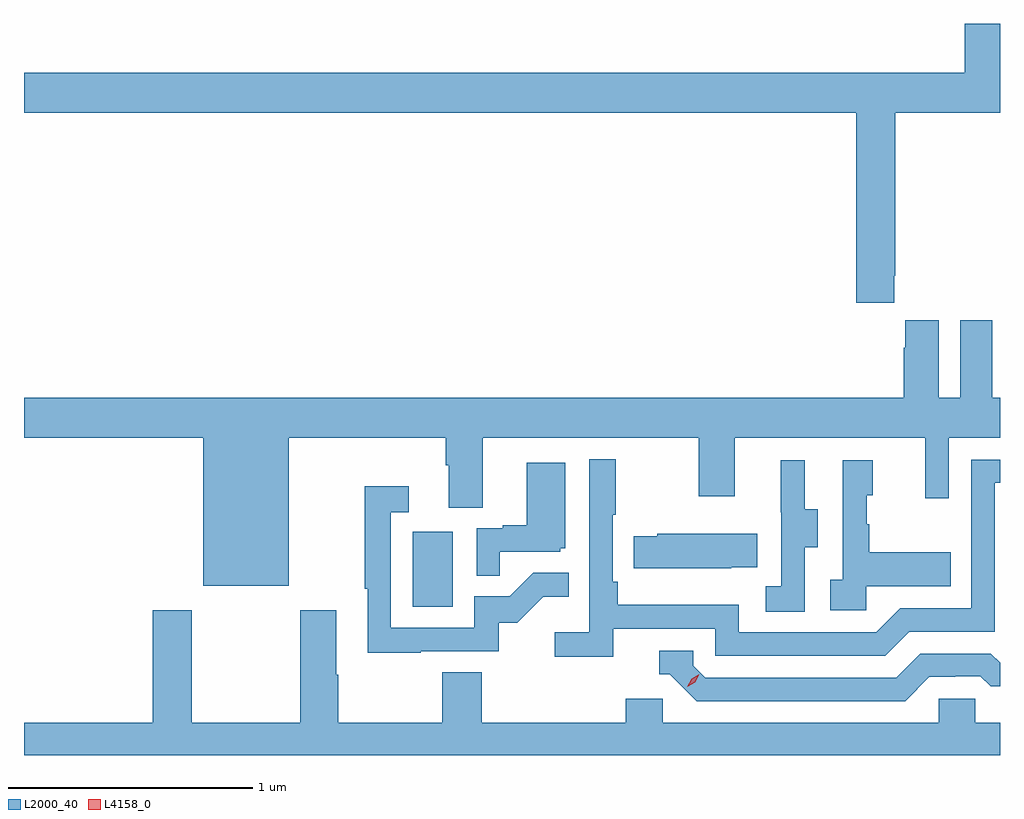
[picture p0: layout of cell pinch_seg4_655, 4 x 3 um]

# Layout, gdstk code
import gdstk
lib = gdstk.Library(unit=1e-6, precision=1e-09)
def R(c, l, rs):  # rectangles x0, y0, x1, y1
    for r in rs: c.add(gdstk.rectangle(r[:2], r[2:], *l))
def P(c, l, *ps):  # polygons
    for p in ps: c.add(gdstk.Polygon(p, *l))
L2000_40 = (2000, 40)
L4158_0 = (4158, 0)

pinch_seg4_655 = lib.new_cell('pinch_seg4_655')
R(pinch_seg4_655, L2000_40, [(1022.24,749.508,1022.404,749.815)])
P(pinch_seg4_655, L2000_40, [(1020.647,751.532),(1024.058,751.532),(1024.058,750.753),(1024.213,750.753),(1024.213,750.865),(1024.218,750.865),(1024.218,751.532),(1024.647,751.532),(1024.647,751.896),(1024.502,751.896),(1024.502,751.696),(1020.647,751.696)],
  [(1021.732,750.2),(1022.375,750.2),(1022.375,750.088),(1022.387,750.088),(1022.387,749.914),(1022.527,749.914),(1022.527,750.2),(1023.412,750.2),(1023.412,749.961),(1023.559,749.961),(1023.559,750.2),(1024.34,750.2),(1024.34,749.952),(1024.437,749.952),(1024.437,750.2),(1024.647,750.2),(1024.647,750.364),(1024.615,750.364),(1024.615,750.682),(1024.484,750.682),(1024.484,750.364),(1024.396,750.364),(1024.396,750.682),(1024.259,750.682),(1024.259,750.569),(1024.253,750.569),(1024.253,750.364),(1020.647,750.364),(1020.647,750.2),(1021.382,750.2),(1021.382,749.594),(1021.732,749.594)],
  [(1023.062,749.418),(1023.48,749.418),(1023.48,749.307),(1024.177,749.307),(1024.276,749.406),(1024.626,749.406),(1024.626,750.015),(1024.647,750.015),(1024.647,750.111),(1024.53,750.111),(1024.53,749.502),(1024.239,749.502),(1024.14,749.403),(1023.576,749.403),(1023.576,749.515),(1023.08,749.515),(1023.08,749.611),(1023.06,749.611),(1023.06,749.884),(1023.073,749.884),(1023.073,750.112),(1022.964,750.112),(1022.964,749.404),(1022.823,749.404),(1022.823,749.302),(1023.062,749.302)],
  [(1024.098,749.591),(1024.445,749.591),(1024.445,749.731),(1024.111,749.731),(1024.111,749.846),(1024.101,749.846),(1024.101,749.964),(1024.126,749.964),(1024.126,750.109),(1024.002,750.109),(1024.002,749.618),(1023.951,749.618),(1023.951,749.493),(1024.098,749.493)],
  [(1023.846,749.752),(1023.901,749.752),(1023.901,749.907),(1023.847,749.907),(1023.847,750.109),(1023.749,750.109),(1023.749,749.895),(1023.75,749.895),(1023.75,749.591),(1023.687,749.591),(1023.687,749.488),(1023.846,749.488)],
  [(1022.597,749.733),(1022.844,749.733),(1022.844,749.748),(1022.866,749.748),(1022.866,750.097),(1022.708,750.097),(1022.708,749.842),(1022.609,749.842),(1022.609,749.829),(1022.502,749.829),(1022.502,749.635),(1022.597,749.635)],
  [(1022.273,749.325),(1022.592,749.325),(1022.592,749.442),(1022.668,749.442),(1022.775,749.549),(1022.879,749.549),(1022.879,749.648),(1022.735,749.648),(1022.637,749.55),(1022.493,749.55),(1022.493,749.421),(1022.151,749.421),(1022.151,749.895),(1022.224,749.895),(1022.224,750.001),(1022.043,750.001),(1022.043,749.581),(1022.055,749.581),(1022.055,749.32),(1022.273,749.32)],
  [(1023.545,749.669),(1023.653,749.669),(1023.653,749.806),(1023.243,749.806),(1023.243,749.796),(1023.145,749.796),(1023.145,749.666),(1023.545,749.666)],
  [(1024.647,749.032),(1024.545,749.032),(1024.545,749.13),(1024.395,749.13),(1024.395,749.032),(1023.264,749.032),(1023.264,749.13),(1023.113,749.13),(1023.113,749.032),(1022.522,749.032),(1022.522,749.24),(1022.362,749.24),(1022.362,749.032),(1021.935,749.032),(1021.935,749.228),(1021.927,749.228),(1021.927,749.494),(1021.78,749.494),(1021.78,749.032),(1021.335,749.032),(1021.335,749.494),(1021.175,749.494),(1021.175,749.032),(1020.647,749.032),(1020.647,748.9),(1024.647,748.9)],
  [(1024.357,749.22),(1024.464,749.22),(1024.464,749.223),(1024.567,749.223),(1024.609,749.181),(1024.647,749.181),(1024.647,749.278),(1024.609,749.316),(1024.32,749.316),(1024.221,749.217),(1023.438,749.217),(1023.39,749.265),(1023.39,749.328),(1023.251,749.328),(1023.251,749.232),(1023.294,749.232),(1023.405,749.121),(1024.258,749.121)])
P(pinch_seg4_655, L4158_0, [(1023.366,749.18),(1023.366,749.18),(1023.383,749.212),(1023.414,749.231),(1023.414,749.231),(1023.414,749.23),(1023.398,749.198),(1023.366,749.18)])

lib.write_gds('pinch_seg4_655.gds')
